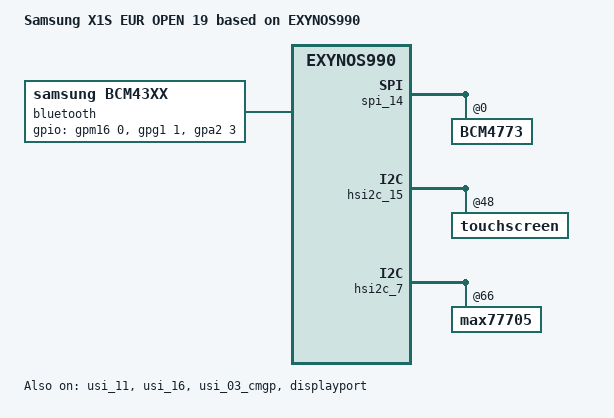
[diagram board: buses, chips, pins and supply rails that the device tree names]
/*
 * SAMSUNG EXYNOS990 board device tree source
 *
 * Copyright (c) 2019 Samsung Electronics Co., Ltd.
 *		http://www.samsung.com
 *
 * This program is free software; you can redistribute it and/or modify
 * it under the terms of the GNU General Public License version 2 as
 * published by the Free Software Foundation.
*/

/dts-v1/;
/plugin/;
#include "exynos9830-x1s_pm_16.dtsi"
#include "exynos990-x1s_common.dtsi"
#include "exynos_gpio_config_macros.dtsi"
#include "exynos9830-picasso_nfc_17.dtsi"
#include "../exynos/exynos9830-universal9830-cp-s5123-sipc.dtsi"
#include <dt-bindings/gpio/gpio.h>
#include "exynos9830-sensorhub_03.dtsi"
#include "exynos9830-hubblex1_fingerprint_00.dtsi"
#include "battery_data_hubblex1_17.dtsi"

#define BOARD_ID	0x10
#define BOARD_REV	0x0

/ {
	compatible = "samsung,X1S EUR OPEN 19", "samsung,EXYNOS990";
	dtbo-hw_rev = <19>;
	dtbo-hw_rev_end = <20>;
	edtbo-rev = <0>;

	fragment@model {
		target-path = "/";
		__overlay__ {
			#address-cells = <2>;
			#size-cells = <1>;

			model = "Samsung X1S EUR OPEN 19 based on EXYNOS990";

			acpm_ipc {
				compatible = "samsung,exynos-acpm-ipc";
				board-id = <BOARD_ID>;
				board-rev = <BOARD_REV>;
			};

			pinctrl@15C30000 {
				bt_en: bt-en {
					samsung,pins = "gpm16-0";
					samsung,pin-function = <1>;
					samsung,pin-pud = <0>;
					samsung,pin-con-pdn = <3>;
					samsung,pin-pud-pdn = <0>;
				};
			};

			pinctrl@15850000 {
				bt_hostwake: bt-hostwake {
					samsung,pins = "gpa2-3";
					samsung,pin-function = <0xF>;
					samsung,pin-pud = <1>;
				};
			};

			pinctrl@10730000 {
				bt_btwake: bt-btwake {
					samsung,pins = "gpg1-1";
					samsung,pin-function = <1>;
					samsung,pin-pud = <0>;
					samsung,pin-con-pdn = <3>;
					samsung,pin-pud-pdn = <0>;
				};
			};

			bluetooth {
				compatible = "samsung,bcm43xx";
				gpios = <&gpm16 0 GPIO_ACTIVE_HIGH    /*BT_EN*/
				&gpg1 1 GPIO_ACTIVE_HIGH    /*BT_WAKE*/
				&gpa2 3 GPIO_ACTIVE_HIGH    /*BT_HOST_WAKE*/ >;
				pinctrl-names = "default";
				pinctrl-0=<&bt_en &bt_hostwake &bt_btwake>;
				status = "okay";
			};
		}; /* end of __overlay__ */
	}; /* end of fragment */
}; /* end of root */

&panel_0 {
	/* reset, power */
	gpios = <&gpa3 4 0x1>;
};

&chosen {
	bootargs_ext = "root=/dev/ram0 androidboot.boot_devices=13100000.ufs";
};

&usi_11 {
	usi_v2_mode = "i2c";
	status = "okay";
};

&usi_16 {
	usi_v2_mode = "spi";
	status = "okay";
};

&usi_03_cmgp {
	usi_v2_mode = "i2c";
	status = "okay";
};

&spi_14 {
	BCM4773@0 {
		ssp-acc-position = <6>;
		ssp-mag-position = <5>;
		ssp-mag-array = /bits/ 8 <70 80 213 204 180 177 255 64 211 54 81 116 50 102 253 122 0 56 248 183
					191 251 219 92 13 117 153>;
		ssp-thermi-up = /bits/ 16 <3253 3220 3184 3134 3075 2999 2911 2806 2679 2545 2394 2229 2057 1883 1691 1522 1358 1204 1062 931 809 692 600>;
		ssp-thermi-sub = /bits/ 16 <4095 4092 4090 4067 3860 3616 3359 3078 2781 2491 2210 1937 1682 1458 1245 1063 909 776 663 565 478 405 347>;
	};
};

&pinctrl_1 {
	tsp_id: tsp-id {
		samsung,pins = "gpm21-0";
		samsung,pin-function = <0>;
		samsung,pin-pud = <0>;
		samsung,pin-drv = <0>;
	};
};

&hsi2c_15 {
	touchscreen@48 {
		pinctrl-0 = <&attn_irq &tsp_id>;
		pinctrl-1 = <&attn_input &tsp_id>;
	};
};

&hsi2c_7 {
	max77705@66 {
		max77705,extra_fw_enable = <0>;
	};
};

&pcie_2 {
	chip-ver = <1>;
};

&ufs {
	/* board type for UFS CAL */
	evt-ver = /bits/ 8 <1>;
};

&pinctrl_5 {
	aux_oe: aux-oe {
		samsung,pins = "gpp6-2";
		samsung,pin-function = <1>;
		samsung,pin-pud = <0>;
		samsung,pin-con-pdn = <3>;
		samsung,pin-pud-pdn = <0>;
		};

	sbu_sel: sbu-sel {
		samsung,pins = "gpp6-1";
		samsung,pin-function = <1>;
		samsung,pin-pud = <0>;
		samsung,pin-con-pdn = <3>;
		samsung,pin-pud-pdn = <0>;
		};
};

&displayport {
	status = "okay";
	dp,aux_sw_oe = <&gpp6 2 0>;
	dp,sbu_sw_sel = <&gpp6 1 0>;
	dp,usb_con_sel = <&gpm26 0 0>;

	pinctrl-names = "default";
	pinctrl-0 = <&aux_oe &sbu_sel>;
};

&spi_14 {
        BCM4773@0 {
        	ssp-mag-array = /bits/ 8 <153 82 4 239 242 224 0 207 211 55 5 189 207 202 255 71 255 86 160 91 190 252 4 15 10 190 188>;
        };
};

/* ----------------------------------------------------------------------------
 * Configurations for GPIOs without Device Driver
 * Note: Do NOT add pins using by device drivers to the configuration below
 * ----------------------------------------------------------------------------
 */

/*
 * pin banks of exynos9830 pin-controller 0 (ALIVE) : pinctrl@15850000
 * GPA0, GPA1, GPA2, GPA3, GPA4
 * GPQ0
 */
&pinctrl_0 {
	pinctrl-names = "default";
	pinctrl-0 = <&initial0>;
	initial0: initial-state {
		PIN_IN(gpq0-6, DOWN);			/* XSPEEDY_DCXO */
	};
};

/*
 * pin banks of exynos9830 pin-controller 2 (HSI1) : pinctrl@13040000
 * GPF0, GPF1, GPF2
 */
&pinctrl_2 {
        pinctrl-names = "default";
        pinctrl-0 = <&initial2>;
        initial2: initial-state {
		PIN_IN_SLP(gpf2-2, NONE, INPUT, NONE);	/* SLAVE_CHK_2 */
        };
};

/*
 * pin banks of exynos9830 pin-controller 4 (PERIC0) : pinctrl@10430000
 * GPP0, GPP1, GPP2, GPP3, GPP4
 * GPG0
 */
&pinctrl_4 {
	pinctrl-names = "default";
	pinctrl-0 = <&initial4>;
	initial4: initial-state {
		PIN_IN_SLP(gpp2-4, NONE, INPUT, NONE);	/* SUB_VER_1 */
		PIN_IN_SLP(gpp2-5, NONE, INPUT, NONE);	/* SUB_VER_2 */
	};
};

/*
 * pin banks of exynos9830 pin-controller 5 (PERIC1) : pinctrl@10730000
 * GPP5, GPP6, GPP7, GPP8, GPP9
 * GPC0
 * GPG1
 * GPB0, GPB1, GPB2
 */
&pinctrl_5 {
	pinctrl-names = "default";
	pinctrl-0 = <&initial5>;
	initial5: initial-state {
		PIN_IN_SLP(gpp5-0, NONE, INPUT, NONE);	/* MEM_SCL_1P8 */
		PIN_IN_SLP(gpp5-1, NONE, INPUT, NONE);	/* MEM_SDA_1P8 */
		PIN_IN_SLP(gpp5-5, NONE, INPUT, NONE);	/* HW_REV_M */
		PIN_IN_SLP(gpb0-0, NONE, INPUT, NONE);	/* INTERPOSER_DET_R_2 */
		PIN_IN_SLP(gpb0-1, NONE, INPUT, NONE);	/* INTERPOSER_DET_R_1 */
		PIN_IN_SLP(gpb0-2, NONE, INPUT, NONE);	/* INTERPOSER_DET_L_1 */
		PIN_IN_SLP(gpb0-3, NONE, INPUT, NONE);	/* INTERPOSER_DET_L_2 */
		PIN_IN_SLP(gpb2-7, NONE, INPUT, NONE);	/* SLAVE_CHK_1 */
	};
};
/* ----------------- End of GPIO configurations ----------------------------- */

